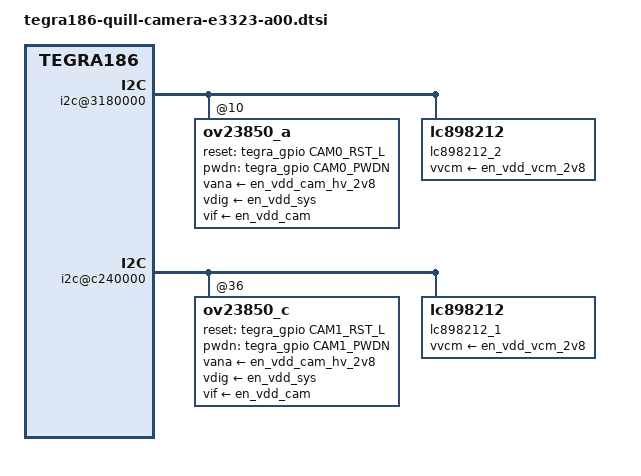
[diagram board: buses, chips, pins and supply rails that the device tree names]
/*
 * Copyright (c) 2015-2016, NVIDIA CORPORATION.  All rights reserved.
 *
 * This program is free software; you can redistribute it and/or modify
 * it under the terms of the GNU General Public License as published by
 * the Free Software Foundation; either version 2 of the License, or
 * (at your option) any later version.
 *
 * This program is distributed in the hope that it will be useful, but WITHOUT
 * ANY WARRANTY; without even the implied warranty of MERCHANTABILITY or
 * FITNESS FOR A PARTICULAR PURPOSE.  See the GNU General Public License for
 * more details.
 *
 * You should have received a copy of the GNU General Public License
 * along with this program.  If not, see <http://www.gnu.org/licenses/>.
 */

#include <tegra186-modules/tegra186-camera-e3323-a00.dtsi>
#include "dt-bindings/clock/tegra186-clock.h"

#define CAM0_RST_L	TEGRA_GPIO(R, 5)
#define CAM0_PWDN	TEGRA_GPIO(R, 0)
#define CAM1_RST_L	TEGRA_GPIO(R, 1)
#define CAM1_PWDN	TEGRA_GPIO(L, 6)
/* CAM2_RST  TCA9539 - P10 */
/* CAM2_PWDN  TCA9539 - P07 */
/* CAM_AF_PWDN  TCA9539 - P13 */

/* camera control gpio definitions */

/ {
	i2c@3180000 {
		ov23850_a@10 {
			/* Define any required hw resources needed by driver */
			/* ie. clocks, io pins, power sources */
			clocks = <&tegra_car TEGRA186_CLK_EXTPERIPH1>,
					 <&tegra_car TEGRA186_CLK_PLLP_OUT0>;
			clock-names = "extperiph1", "pllp_grtba";
			mclk = "extperiph1";

			reset-gpios = <&tegra_gpio CAM0_RST_L GPIO_ACTIVE_HIGH>;   //also for VCM_2V8 en
			pwdn-gpios = <&tegra_gpio CAM0_PWDN GPIO_ACTIVE_HIGH>;
			vana-supply = <&en_vdd_cam_hv_2v8>;
			vdig-supply = <&en_vdd_sys>;
			vif-supply = <&en_vdd_cam>;
			vvcm-suply = <&en_vdd_vcm_2v8>;
		};
		lc898212_2: lc898212@2_0072 {
			vvcm-supply = <&en_vdd_vcm_2v8>;
			support_mfi = "false";
		};
	};

	i2c@c240000 {
		ov23850_c@36 {
			/* Define any required hw resources needed by driver */
			/* ie. clocks, io pins, power sources */
			clocks = <&tegra_car TEGRA186_CLK_EXTPERIPH2>,
					 <&tegra_car TEGRA186_CLK_PLLP_OUT0>;
			clock-names = "extperiph2", "pllp_grtba";
			mclk = "extperiph2";

			reset-gpios = <&tegra_gpio CAM1_RST_L GPIO_ACTIVE_HIGH>;   //also for VCM_2V8 en
			pwdn-gpios = <&tegra_gpio CAM1_PWDN GPIO_ACTIVE_HIGH>;
			vana-supply = <&en_vdd_cam_hv_2v8>;
			vdig-supply = <&en_vdd_sys>;
			vif-supply = <&en_vdd_cam>;
			vvcm-suply = <&en_vdd_vcm_2v8>;
		};
		lc898212_1: lc898212@1_0072 {
			vvcm-supply = <&en_vdd_vcm_2v8>;
			support_mfi = "false";
		};
	};

	fixed-regulators {
		en_vdd_sys: regulator@118 {
			enable-active-high;
		};
	};
};
